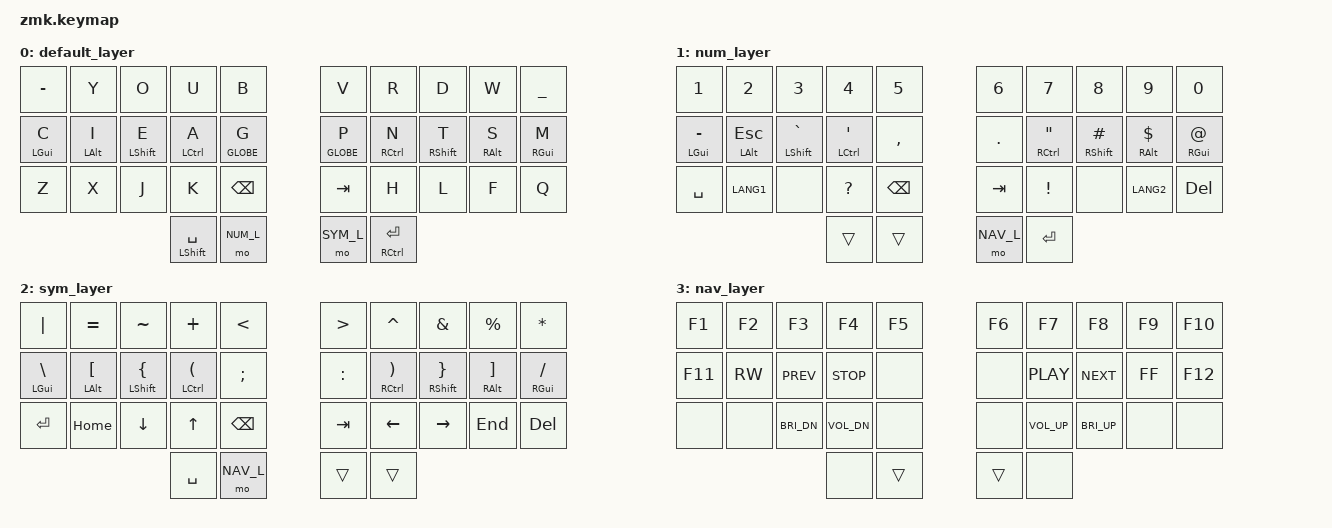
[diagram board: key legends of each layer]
/ {
    keymap {
        compatible = "zmk,keymap";

        default_layer {
            bindings = <
                &kp MINUS  &kp Y      &kp O       &kp U          &kp B         &kp V            &kp R          &kp D       &kp W      &kp UNDER
                &mt LGUI C &mt LALT I &mt LSHFT E &mt LCTRL A    &mt GLOBE G   &mt GLOBE P      &mt RCTRL N    &mt RSHFT T &mt RALT S &mt RGUI M
                &kp Z      &kp X      &kp J       &kp K          &kp BSPC      &kp TAB          &kp H          &kp L       &kp F      &kp Q
                                                  &mt LSHFT SPACE &mo NUM_L    &mo SYM_L        &mt RCTRL ENTER
            >;
        };

        num_layer {
            bindings = <
                &kp N1     &kp N2     &kp N3      &kp N4          &kp N5        &kp N6          &kp N7         &kp N8      &kp N9     &kp N0
        &hm LGUI MINUS &hm LALT ESC &hm LSHFT GRAVE &hm LCTRL SQT &kp COMMA     &kp PERIOD &hm RCTRL DQT &hm RSHFT HASH &hm RALT DOLLAR &hm RGUI AT
                &kp SPACE  &kp LANG1  &none       &kp QMARK       &kp BSPC      &kp TAB         &kp EXCL       &none       &kp LANG2  &kp DEL
                                                  &trans          &trans        &mo NAV_L       &kp ENTER
            >;
        };

        sym_layer {
            bindings = <
                &kp PIPE   &kp EQUAL   &kp TILDE   &kp PLUS       &kp LT        &kp GT          &kp CARET      &kp AMPS    &kp PRCNT  &kp ASTRK
        &hm LGUI BSLH &hm LALT LBKT &hm LSHFT LBRC &hm LCTRL LPAR &kp SEMI      &kp COLON       &hm RCTRL RPAR &hm RSHFT RBRC &hm RALT RBKT &hm RGUI SLASH
                &kp ENTER  &kp HOME    &kp DOWN    &kp UP         &kp BSPC      &kp TAB         &kp LEFT       &kp RIGHT   &kp END    &kp DEL
                                                   &kp SPACE      &mo NAV_L     &trans          &trans
            >;
        };

        nav_layer {
            bindings = <
                &kp F1     &kp F2     &kp F3      &kp F4          &kp F5       &kp F6           &kp F7         &kp F8      &kp F9     &kp F10
                &kp F11    &kp C_RW   &kp C_PREV  &kp C_STOP      &none        &none            &kp C_PLAY     &kp C_NEXT  &kp C_FF   &kp F12
                &none      &none      &kp C_BRI_DN &kp C_VOL_DN   &none        &none            &kp C_VOL_UP   &kp C_BRI_UP &none     &none
                                                  &none           &trans       &trans           &none
            >;
        };
    };
};
